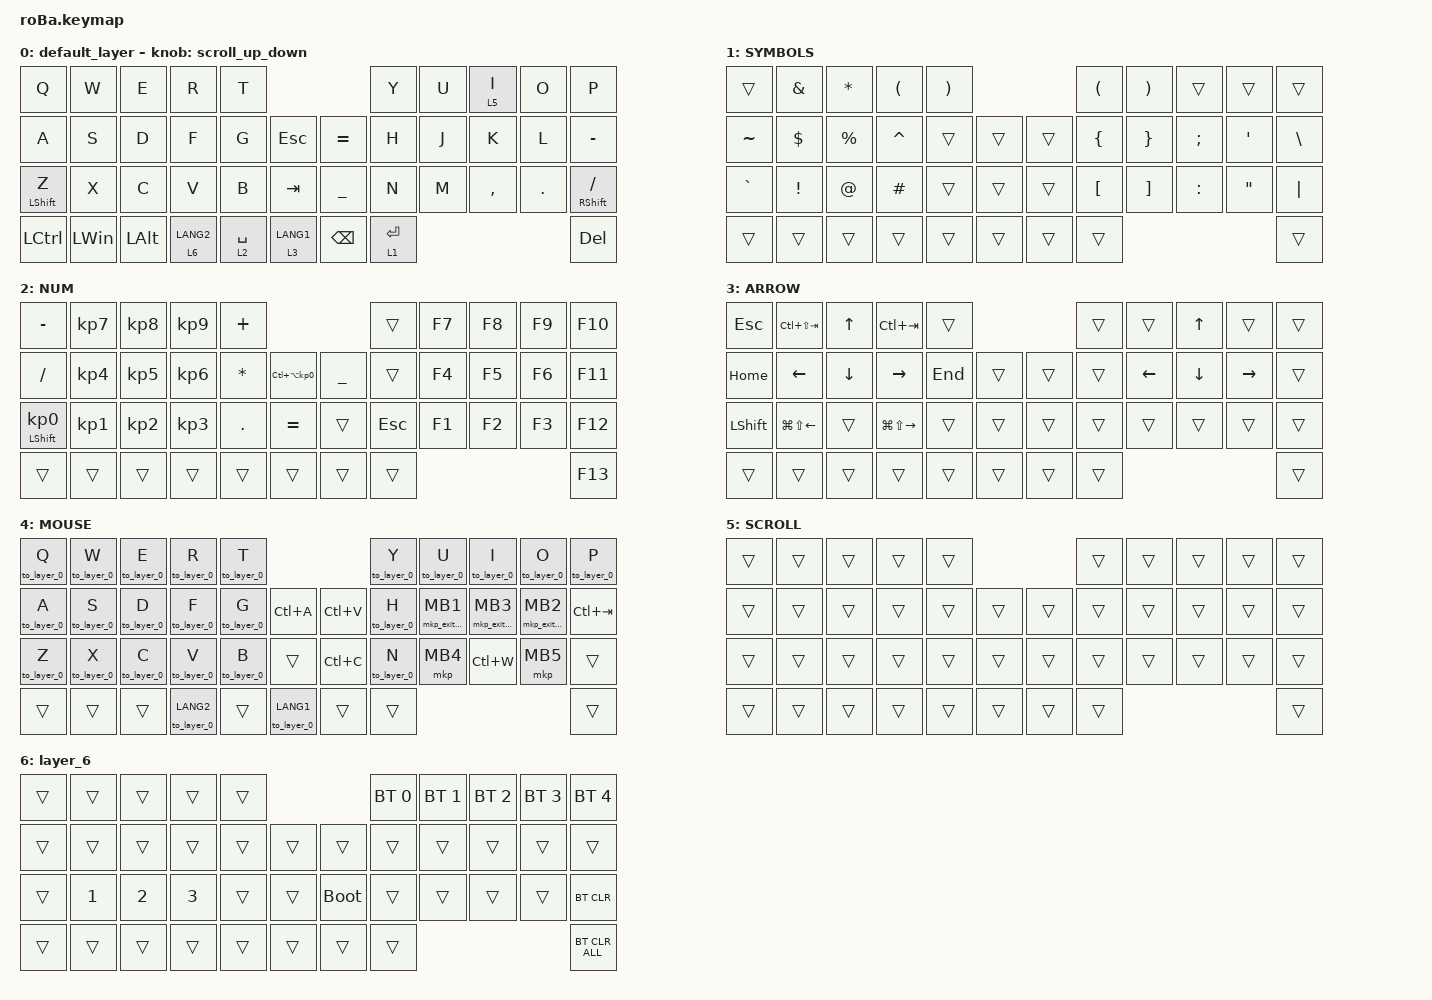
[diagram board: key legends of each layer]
#include <behaviors.dtsi>
#include <dt-bindings/zmk/bt.h>
#include <dt-bindings/zmk/keys.h>
#include <dt-bindings/zmk/pointing.h>

#define ZMK_POINTING_DEFAULT_SCRL_VAL 100
#define MOUSE 4 //マウスレイヤーに合わせて設定

&sl { release-after-ms = <250>; }; //ダブルクリックに必要な時間を設定
&mt {
    flavor = "balanced";
    quick-tap-ms = <0>;
};

&trackball {
    automouse-layer = <4>;
    scroll-layers = <5>;

    // arrows {
    //     layers = <3>;
    //     bindings =
    //         <&kp RIGHT_ARROW>,
    //         <&kp LEFT_ARROW>,
    //         <&kp UP_ARROW>,
    //         <&kp DOWN_ARROW>;
    //     tick = <10>;
    //     wait-ms = <5>;
    //     tap-ms = <5>;
    // };
};

/ {
    combos {
        compatible = "zmk,combos";

        tab {
            bindings = <&kp TAB>;
            key-positions = <11 12>;
        };

        shift_tab {
            bindings = <&kp LS(TAB)>;
            key-positions = <12 13>;
        };

        muhennkann {
            bindings = <&to_layer_0 INT_MUHENKAN>;
            key-positions = <11 10>;
        };

        double_quotation {
            bindings = <&kp DOUBLE_QUOTES>;
            key-positions = <20 21>;
        };

        eq {
            bindings = <&kp EQUAL>;
            key-positions = <24 25>;
        };
    };

    macros {
        to_layer_0: to_layer_0 {
            compatible = "zmk,behavior-macro-one-param";
            #binding-cells = <1>;
            bindings = <&to 0 &macro_param_1to1 &kp MACRO_PLACEHOLDER>;
            label = "TO_LAYER_0";
        };

        mkp_exit_AML: mkp_exit_AML {
            compatible = "zmk,behavior-macro-one-param";
            #binding-cells = <1>;
            bindings =
                <&macro_press>,
                <&macro_param_1to1 &mkp MACRO_PLACEHOLDER>,
                <&macro_pause_for_release>,
                <&macro_release>,
                <&macro_param_1to1 &mkp MACRO_PLACEHOLDER>,
                <&macro_tap>,
                <&sl MOUSE>;

            label = "MKP_EXIT_AML";
        };
    };

    behaviors {
        scroll_up_down: behavior_sensor_rotate_mouse_wheel_up_down {
            compatible = "zmk,behavior-sensor-rotate";
            #sensor-binding-cells = <0>;
            bindings = <&msc SCRL_DOWN>, <&msc SCRL_UP>;

            // 追加: スクロールのタップ時間を設定 (20ms)

            tap-ms = <20>;
        };

        lt_to_layer_0: lt_to_layer_0 {
            compatible = "zmk,behavior-hold-tap";
            label = "LAYER_TAP_TO_0";
            bindings = <&mo>, <&to_layer_0>;

            #binding-cells = <2>;
            tapping-term-ms = <200>;
        };
    };

    keymap {
        compatible = "zmk,keymap";

        default_layer {
            bindings = <
&kp Q             &kp W         &kp E         &kp R        &kp T                                        &kp Y        &kp U  &lt 5 I    &kp O    &kp P
&kp A             &kp S         &kp D         &kp F        &kp G        &kp ESCAPE       &kp EQUAL      &kp H        &kp J  &kp K      &kp L    &kp MINUS
&mt LEFT_SHIFT Z  &kp X         &kp C         &kp V        &kp B        &kp TAB          &kp UNDER      &kp N        &kp M  &kp COMMA  &kp DOT  &mt RIGHT_SHIFT SLASH
&kp LCTRL         &kp LEFT_WIN  &kp LEFT_ALT  &lt 6 LANG2  &lt 2 SPACE  &lt 3 LANG1      &kp BACKSPACE  &lt 1 ENTER                             &kp DEL
            >;

            sensor-bindings = <&scroll_up_down>;
        };

        SYMBOLS {
            bindings = <
&trans     &kp AMPERSAND    &kp ASTERISK  &kp LEFT_PARENTHESIS  &kp RIGHT_PARENTHESIS                      &kp LEFT_PARENTHESIS  &kp RIGHT_PARENTHESIS  &trans         &trans             &trans
&kp TILDE  &kp DOLLAR       &kp PERCENT   &kp CARET             &trans                 &trans      &trans  &kp LEFT_BRACE        &kp RIGHT_BRACE        &kp SEMICOLON  &kp SINGLE_QUOTE   &kp BACKSLASH
&kp GRAVE  &kp EXCLAMATION  &kp AT        &kp HASH              &trans                 &trans      &trans  &kp LEFT_BRACKET      &kp RIGHT_BRACKET      &kp COLON      &kp DOUBLE_QUOTES  &kp PIPE
&trans     &trans           &trans        &trans                &trans                 &trans      &trans  &trans                                                                         &trans
            >;
        };

        NUM {
            bindings = <
&kp MINUS                   &kp KP_NUMBER_7  &kp KP_NUMBER_8  &kp KP_NUMBER_9  &kp PLUS                                                   &trans      &kp F7  &kp F8  &kp F9  &kp F10
&kp SLASH                   &kp KP_NUMBER_4  &kp KP_NUMBER_5  &kp KP_NUMBER_6  &kp ASTERISK  &kp LC(LA(KP_NUMBER_0))      &kp UNDERSCORE  &trans      &kp F4  &kp F5  &kp F6  &kp F11
&mt LEFT_SHIFT KP_NUMBER_0  &kp KP_NUMBER_1  &kp KP_NUMBER_2  &kp KP_NUMBER_3  &kp PERIOD    &kp EQUAL                    &trans          &kp ESCAPE  &kp F1  &kp F2  &kp F3  &kp F12
&trans                      &trans           &trans           &trans           &trans        &trans                       &trans          &trans                              &kp F13
            >;
        };

        ARROW {
            bindings = <
&kp ESCAPE      &kp LC(LS(TAB))         &kp UP_ARROW    &kp LC(TAB)              &trans                       &trans  &trans          &kp UP_ARROW    &trans           &trans
&kp HOME        &kp LEFT_ARROW          &kp DOWN_ARROW  &kp RIGHT_ARROW          &kp END  &trans      &trans  &trans  &kp LEFT_ARROW  &kp DOWN_ARROW  &kp RIGHT_ARROW  &trans
&kp LEFT_SHIFT  &kp LG(LS(LEFT_ARROW))  &trans          &kp LG(LS(RIGHT_ARROW))  &trans   &trans      &trans  &trans  &trans          &trans          &trans           &trans
&trans          &trans                  &trans          &trans                   &trans   &trans      &trans  &trans                                                   &trans
            >;
        };

        MOUSE {
            bindings = <
&to_layer_0 Q  &to_layer_0 W  &to_layer_0 E  &to_layer_0 R      &to_layer_0 T                                    &to_layer_0 Y  &to_layer_0 U      &to_layer_0 I      &to_layer_0 O      &to_layer_0 P
&to_layer_0 A  &to_layer_0 S  &to_layer_0 D  &to_layer_0 F      &to_layer_0 G  &kp LC(A)              &kp LC(V)  &to_layer_0 H  &mkp_exit_AML MB1  &mkp_exit_AML MB3  &mkp_exit_AML MB2  &kp LC(TAB)
&to_layer_0 Z  &to_layer_0 X  &to_layer_0 C  &to_layer_0 V      &to_layer_0 B  &trans                 &kp LC(C)  &to_layer_0 N  &mkp MB4           &kp LC(W)          &mkp MB5           &trans
&trans         &trans         &trans         &to_layer_0 LANG2  &trans         &to_layer_0 LANG1      &trans     &trans                                                                  &trans
            >;
        };

        SCROLL {
            bindings = <
&trans  &trans  &trans  &trans  &trans                      &trans  &trans  &trans  &trans  &trans
&trans  &trans  &trans  &trans  &trans  &trans      &trans  &trans  &trans  &trans  &trans  &trans
&trans  &trans  &trans  &trans  &trans  &trans      &trans  &trans  &trans  &trans  &trans  &trans
&trans  &trans  &trans  &trans  &trans  &trans      &trans  &trans                          &trans
            >;
        };

        layer_6 {
            bindings = <
&trans  &trans        &trans        &trans        &trans                           &bt BT_SEL 0  &bt BT_SEL 1  &bt BT_SEL 2  &bt BT_SEL 3  &bt BT_SEL 4
&trans  &trans        &trans        &trans        &trans  &trans      &trans       &trans        &trans        &trans        &trans        &trans
&trans  &kp NUMBER_1  &kp NUMBER_2  &kp NUMBER_3  &trans  &trans      &bootloader  &trans        &trans        &trans        &trans        &bt BT_CLR
&trans  &trans        &trans        &trans        &trans  &trans      &trans       &trans                                                  &bt BT_CLR_ALL
            >;
        };
    };
};
